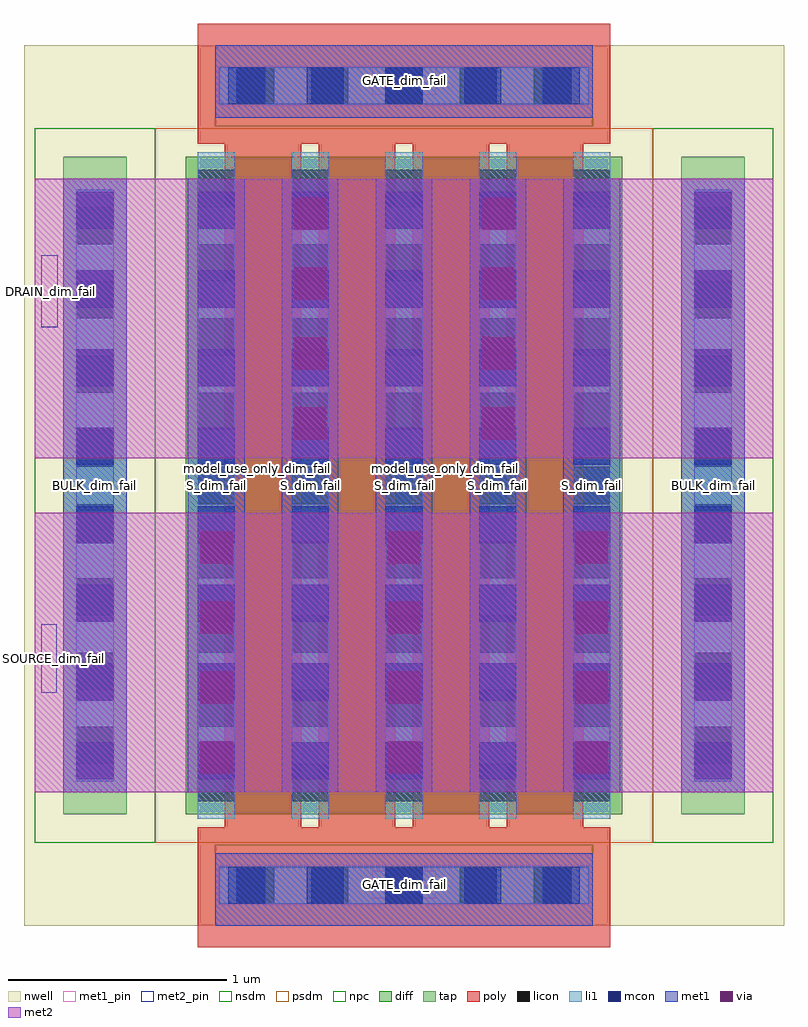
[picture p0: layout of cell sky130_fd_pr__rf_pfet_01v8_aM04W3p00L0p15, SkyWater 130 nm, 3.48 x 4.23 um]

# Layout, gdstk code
import gdstk
lib = gdstk.Library(unit=1e-6, precision=1e-09)
def R(c, l, rs):  # rectangles x0, y0, x1, y1
    for r in rs: c.add(gdstk.rectangle(r[:2], r[2:], *l))
def A(c, l, x, y, w, h, nx, ny, dx, dy):  # array of equal rectangles
    R(c, l, [(x+i*dx, y+j*dy, x+i*dx+w, y+j*dy+h) for i in range(nx) for j in range(ny)])
def P(c, l, *ps):  # polygons
    for p in ps: c.add(gdstk.Polygon(p, *l))
nwell = (64, 20)
diff = (65, 20)
tap = (65, 44)
poly = (66, 20)
licon = (66, 44)
li1 = (67, 20)
mcon = (67, 44)
met1_pin = (68, 16)
met1 = (68, 20)
via = (68, 44)
met2_pin = (69, 16)
met2 = (69, 20)
nsdm = (93, 44)
psdm = (94, 20)
npc = (95, 20)

sky130_fd_pr__rf_pfet_01 = lib.new_cell('sky130_fd_pr__rf_pfet_01v8_aM04W3p00L0p15')
R(sky130_fd_pr__rf_pfet_01, nwell, [(0,0,3.48,4.03)])
R(sky130_fd_pr__rf_pfet_01, diff, [(0.74,0.51,2.74,3.52)])
R(sky130_fd_pr__rf_pfet_01, tap, [(0.18,0.51,0.47,3.52), (3.01,0.51,3.3,3.52)])
P(sky130_fd_pr__rf_pfet_01, poly, [(0.795,-0.1),(0.795,0.45),(0.92,0.45),(0.92,3.58),(1.27,3.58),(1.27,0.45),(1.35,0.45),(1.35,3.58),(1.7,3.58),(1.7,0.45),(1.78,0.45),(1.78,3.58),(2.13,3.58),(2.13,0.45),(2.21,0.45),(2.21,3.58),(0.795,3.58),(0.795,4.13),(2.685,4.13),(2.685,3.58),(2.56,3.58),(2.56,0.45),(2.685,0.45),(2.685,-0.1)])
A(sky130_fd_pr__rf_pfet_01, licon, 0.975, 0.1, 0.17, 0.17, 5, 2, 0.34, 3.66)
A(sky130_fd_pr__rf_pfet_01, licon, 0.795, 0.57, 0.17, 0.17, 5, 9, 0.43, 0.34)
A(sky130_fd_pr__rf_pfet_01, licon, 0.24, 0.74, 0.17, 0.17, 1, 8, 0, 0.34)
A(sky130_fd_pr__rf_pfet_01, licon, 3.07, 0.74, 0.17, 0.17, 1, 8, 0, 0.34)
A(sky130_fd_pr__rf_pfet_01, li1, 0.795, 0.49, 0.17, 3.05, 5, 1, 0.43, 0)
A(sky130_fd_pr__rf_pfet_01, li1, 0.795, 0.67, 0.17, 2.69, 5, 1, 0.43, 0)
R(sky130_fd_pr__rf_pfet_01, li1, [(0.895,0.1,2.585,0.27), (0.935,0.1,2.545,0.27), (0.24,0.66,0.41,3.37), (3.07,0.66,3.24,3.37), (0.24,0.67,0.41,3.36), (3.07,0.67,3.24,3.36), (0.895,3.76,2.585,3.93), (0.935,3.76,2.545,3.93)])
A(sky130_fd_pr__rf_pfet_01, mcon, 0.935, 0.1, 0.17, 0.17, 5, 2, 0.36, 3.66)
A(sky130_fd_pr__rf_pfet_01, mcon, 0.24, 0.67, 0.17, 0.17, 1, 8, 0, 0.36)
A(sky130_fd_pr__rf_pfet_01, mcon, 0.795, 0.67, 0.17, 0.17, 5, 8, 0.43, 0.36)
A(sky130_fd_pr__rf_pfet_01, mcon, 3.07, 0.67, 0.17, 0.17, 1, 8, 0, 0.36)
R(sky130_fd_pr__rf_pfet_01, met1_pin, [(1.595,0.125,1.885,0.25), (0.24,1.985,0.41,2.04), (3.07,1.985,3.24,2.04), (1.595,3.805,1.885,3.93)])
A(sky130_fd_pr__rf_pfet_01, met1, 0.75, 0.61, 0.26, 2.81, 5, 1, 0.43, 0)
A(sky130_fd_pr__rf_pfet_01, met1, 0.75, 0.61, 0.26, 1.28, 3, 1, 0.86, 0)
R(sky130_fd_pr__rf_pfet_01, met1, [(0.875,0,2.605,0.33), (0.18,0.61,0.47,3.42), (3.01,0.61,3.3,3.42), (1.18,2.14,1.44,3.42), (2.04,2.14,2.3,3.42), (0.875,3.7,2.605,4.03)])
A(sky130_fd_pr__rf_pfet_01, via, 0.805, 0.695, 0.15, 0.15, 3, 4, 0.86, 0.32)
A(sky130_fd_pr__rf_pfet_01, via, 1.235, 2.225, 0.15, 0.15, 1, 4, 0, 0.32)
A(sky130_fd_pr__rf_pfet_01, via, 2.095, 2.225, 0.15, 0.15, 1, 4, 0, 0.32)
R(sky130_fd_pr__rf_pfet_01, met2_pin, [(0.08,1.065,0.15,1.38), (0.08,2.74,0.155,3.07)])
A(sky130_fd_pr__rf_pfet_01, met2, 0.75, 0.61, 0.26, 1.28, 3, 1, 0.86, 0)
R(sky130_fd_pr__rf_pfet_01, met2, [(0.05,0.61,3.43,1.89), (0.05,2.14,3.43,3.42), (1.18,2.14,1.44,3.42), (2.04,2.14,2.3,3.42)])
R(sky130_fd_pr__rf_pfet_01, nsdm, [(0.05,0.38,0.6,3.65), (2.88,0.38,3.43,3.65)])
R(sky130_fd_pr__rf_pfet_01, psdm, [(0.6,0.38,2.88,3.65)])
R(sky130_fd_pr__rf_pfet_01, npc, [(0.875,0,2.605,0.37), (0.875,3.66,2.605,4.03)])
sky130_fd_pr__rf_pfet_01.add(gdstk.Label('model_use_only_dim_fail', (1.07,2.095), layer=66, texttype=83))
sky130_fd_pr__rf_pfet_01.add(gdstk.Label('model_use_only_dim_fail', (1.5,2.095), layer=66, texttype=83))
sky130_fd_pr__rf_pfet_01.add(gdstk.Label('model_use_only_dim_fail', (1.93,2.095), layer=66, texttype=83))
sky130_fd_pr__rf_pfet_01.add(gdstk.Label('model_use_only_dim_fail', (2.36,2.095), layer=66, texttype=83))
sky130_fd_pr__rf_pfet_01.add(gdstk.Label('S_dim_fail', (0.88,2.015), layer=83, texttype=44))
sky130_fd_pr__rf_pfet_01.add(gdstk.Label('S_dim_fail', (1.31,2.015), layer=83, texttype=44))
sky130_fd_pr__rf_pfet_01.add(gdstk.Label('S_dim_fail', (1.74,2.015), layer=83, texttype=44))
sky130_fd_pr__rf_pfet_01.add(gdstk.Label('S_dim_fail', (2.17,2.015), layer=83, texttype=44))
sky130_fd_pr__rf_pfet_01.add(gdstk.Label('S_dim_fail', (0.88,2.015), layer=83, texttype=44))
sky130_fd_pr__rf_pfet_01.add(gdstk.Label('D_dim_fail', (1.31,2.015), layer=83, texttype=44))
sky130_fd_pr__rf_pfet_01.add(gdstk.Label('S_dim_fail', (1.74,2.015), layer=83, texttype=44))
sky130_fd_pr__rf_pfet_01.add(gdstk.Label('D_dim_fail', (2.17,2.015), layer=83, texttype=44))
sky130_fd_pr__rf_pfet_01.add(gdstk.Label('S_dim_fail', (2.6,2.015), layer=83, texttype=44))
sky130_fd_pr__rf_pfet_01.add(gdstk.Label('GATE_dim_fail', (1.74,3.87), layer=68, texttype=5))
sky130_fd_pr__rf_pfet_01.add(gdstk.Label('GATE_dim_fail', (1.74,0.19), layer=68, texttype=5))
sky130_fd_pr__rf_pfet_01.add(gdstk.Label('BULK_dim_fail', (3.155,2.015), layer=68, texttype=5))
sky130_fd_pr__rf_pfet_01.add(gdstk.Label('BULK_dim_fail', (0.325,2.015), layer=68, texttype=5))
sky130_fd_pr__rf_pfet_01.add(gdstk.Label('SOURCE_dim_fail', (0.115,1.225), layer=69, texttype=5))
sky130_fd_pr__rf_pfet_01.add(gdstk.Label('DRAIN_dim_fail', (0.12,2.905), layer=69, texttype=5))

lib.write_gds('sky130_fd_pr__rf_pfet_01v8_aM04W3p00L0p15.gds')
